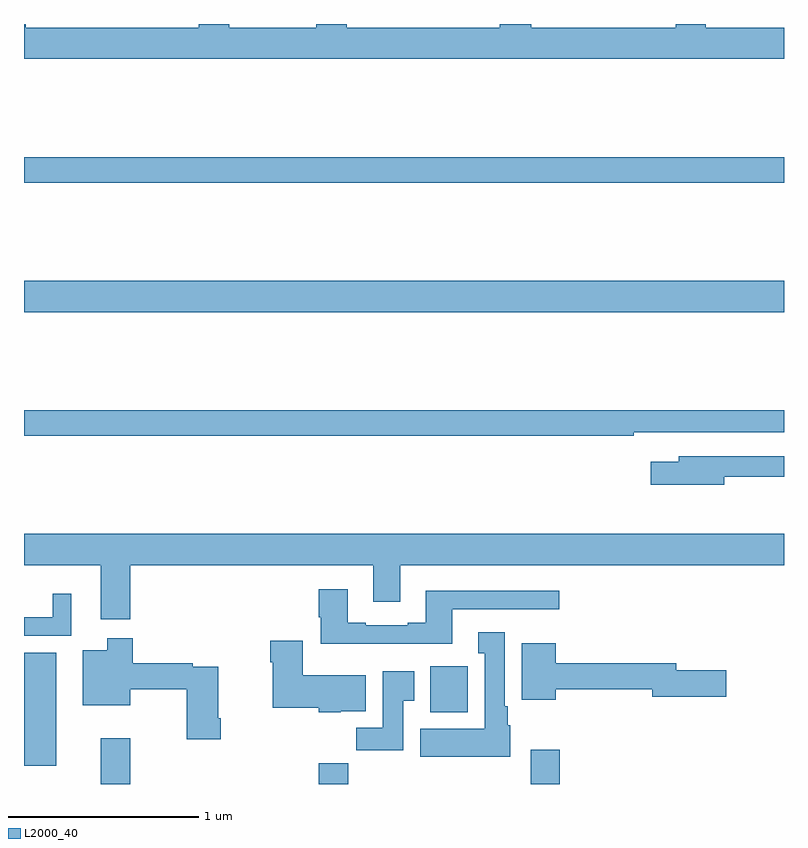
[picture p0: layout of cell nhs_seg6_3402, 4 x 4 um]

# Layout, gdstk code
import gdstk
lib = gdstk.Library(unit=1e-6, precision=1e-09)
def R(c, l, rs):  # rectangles x0, y0, x1, y1
    for r in rs: c.add(gdstk.rectangle(r[:2], r[2:], *l))
def P(c, l, *ps):  # polygons
    for p in ps: c.add(gdstk.Polygon(p, *l))
L2000_40 = (2000, 40)

nhs_seg6_3402 = lib.new_cell('nhs_seg6_3402')
R(nhs_seg6_3402, L2000_40, [(311.405,963.5,311.558,963.742), (312.551,963.5,312.707,963.608), (313.667,963.5,313.82,963.679), (311,963.596,311.17,964.192), (313.139,963.878,313.336,964.12), (311,965.984,315,966.148), (311,966.664,315,966.8)])
P(nhs_seg6_3402, L2000_40, [(315,967.48),(314.589,967.48),(314.589,967.5),(314.429,967.5),(314.429,967.48),(313.67,967.48),(313.67,967.5),(313.505,967.5),(313.505,967.48),(312.698,967.48),(312.698,967.5),(312.538,967.5),(312.538,967.48),(312.081,967.48),(312.081,967.5),(311.921,967.5),(311.921,967.48),(311.009,967.48),(311.009,967.5),(311,967.5),(311,967.316),(315,967.316)],
  [(314.21,965.352),(315,965.352),(315,965.468),(311,965.468),(311,965.332),(314.21,965.332)],
  [(314.686,965.118),(315,965.118),(315,965.226),(314.447,965.226),(314.447,965.197),(314.298,965.197),(314.298,965.075),(314.686,965.075)],
  [(311.558,964.652),(312.839,964.652),(312.839,964.458),(312.979,964.458),(312.979,964.652),(315,964.652),(315,964.816),(311,964.816),(311,964.652),(311.405,964.652),(311.405,964.368),(311.558,964.368)],
  [(313.255,964.419),(313.816,964.419),(313.816,964.516),(313.115,964.516),(313.115,964.348),(313.019,964.348),(313.019,964.335),(312.799,964.335),(312.799,964.348),(312.703,964.348),(312.703,964.525),(312.551,964.525),(312.551,964.377),(312.563,964.377),(312.563,964.238),(313.255,964.238)],
  [(311.248,964.501),(311.15,964.501),(311.15,964.377),(311,964.377),(311,964.281),(311.248,964.281)],
  [(313.558,963.81),(313.546,963.81),(313.546,963.91),(313.531,963.91),(313.531,964.3),(313.391,964.3),(313.391,964.187),(313.424,964.187),(313.424,963.79),(313.085,963.79),(313.085,963.644),(313.558,963.644)],
  [(312.035,963.847),(312.022,963.847),(312.022,964.116),(311.888,964.116),(311.888,964.136),(311.573,964.136),(311.573,964.267),(311.438,964.267),(311.438,964.204),(311.309,964.204),(311.309,963.914),(311.56,963.914),(311.56,964),(311.857,964),(311.857,963.735),(312.035,963.735)],
  [(312.666,963.884),(312.799,963.884),(312.799,964.072),(312.466,964.072),(312.466,964.255),(312.296,964.255),(312.296,964.142),(312.308,964.142),(312.308,963.902),(312.552,963.902),(312.552,963.878),(312.666,963.878)],
  [(313.798,964),(314.306,964),(314.306,963.958),(314.695,963.958),(314.695,964.1),(314.434,964.1),(314.434,964.136),(313.798,964.136),(313.798,964.24),(313.619,964.24),(313.619,963.944),(313.798,963.944)],
  [(312.997,963.937),(313.054,963.937),(313.054,964.093),(312.887,964.093),(312.887,963.796),(312.748,963.796),(312.748,963.678),(312.997,963.678)])

lib.write_gds('nhs_seg6_3402.gds')
